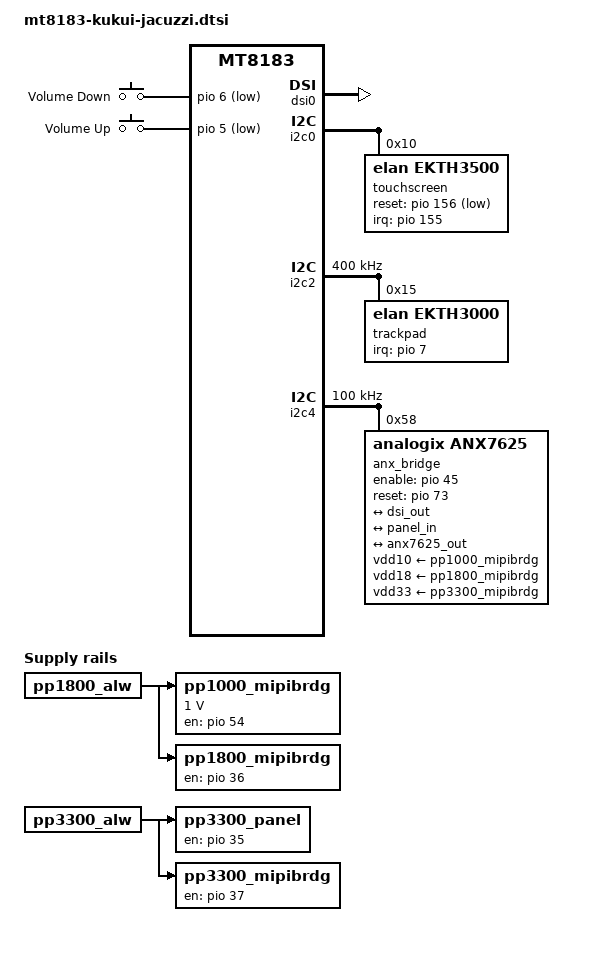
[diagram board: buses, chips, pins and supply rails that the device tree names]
// SPDX-License-Identifier: (GPL-2.0 OR MIT)
/*
 * Copyright 2021 Google LLC
 */

#include "mt8183-kukui.dtsi"
/* Must come after mt8183-kukui.dtsi to modify cros_ec */
#include <arm/cros-ec-keyboard.dtsi>

/ {
	pp1000_mipibrdg: pp1000-mipibrdg {
		compatible = "regulator-fixed";
		regulator-name = "pp1000_mipibrdg";
		regulator-min-microvolt = <1000000>;
		regulator-max-microvolt = <1000000>;
		pinctrl-names = "default";
		pinctrl-0 = <&pp1000_mipibrdg_en>;

		enable-active-high;
		regulator-boot-on;

		gpio = <&pio 54 GPIO_ACTIVE_HIGH>;
		vin-supply = <&pp1800_alw>;
	};

	pp1800_mipibrdg: pp1800-mipibrdg {
		compatible = "regulator-fixed";
		regulator-name = "pp1800_mipibrdg";
		pinctrl-names = "default";
		pinctrl-0 = <&pp1800_mipibrdg_en>;

		enable-active-high;
		regulator-boot-on;

		gpio = <&pio 36 GPIO_ACTIVE_HIGH>;
		vin-supply = <&pp1800_alw>;
	};

	pp3300_panel: pp3300-panel {
		compatible = "regulator-fixed";
		regulator-name = "pp3300_panel";
		pinctrl-names = "default";
		pinctrl-0 = <&pp3300_panel_pins>;

		enable-active-high;
		regulator-boot-on;

		gpio = <&pio 35 GPIO_ACTIVE_HIGH>;
		vin-supply = <&pp3300_alw>;
	};

	pp3300_mipibrdg: pp3300-mipibrdg {
		compatible = "regulator-fixed";
		regulator-name = "pp3300_mipibrdg";
		pinctrl-names = "default";
		pinctrl-0 = <&pp3300_mipibrdg_en>;

		enable-active-high;
		regulator-boot-on;

		gpio = <&pio 37 GPIO_ACTIVE_HIGH>;
		vin-supply = <&pp3300_alw>;
	};

	volume_buttons: volume-buttons {
		compatible = "gpio-keys";
		pinctrl-names = "default";
		pinctrl-0 = <&volume_button_pins>;

		button-volume-down {
			label = "Volume Down";
			linux,code = <KEY_VOLUMEDOWN>;
			debounce-interval = <100>;

			gpios = <&pio 6 GPIO_ACTIVE_LOW>;
		};

		button-volume-up {
			label = "Volume Up";
			linux,code = <KEY_VOLUMEUP>;
			debounce-interval = <100>;

			gpios = <&pio 5 GPIO_ACTIVE_LOW>;
		};
	};
};

&cros_ec {
	cros_ec_pwm: pwm {
		compatible = "google,cros-ec-pwm";
		#pwm-cells = <1>;
		status = "disabled";
	};
};

&dsi0 {
	status = "okay";
	/delete-node/panel@0;
};

&dsi_out {
	remote-endpoint = <&anx7625_in>;
};

&i2c0 {
	status = "okay";

	touchscreen: touchscreen@10 {
		compatible = "elan,ekth3500";
		reg = <0x10>;

		pinctrl-names = "default";
		pinctrl-0 = <&touchscreen_pins>;

		interrupts-extended = <&pio 155 IRQ_TYPE_LEVEL_LOW>;

		reset-gpios = <&pio 156 GPIO_ACTIVE_LOW>;
	};
};

&i2c2 {
	pinctrl-names = "default";
	pinctrl-0 = <&i2c2_pins>;
	status = "okay";
	clock-frequency = <400000>;

	trackpad@15 {
		compatible = "elan,ekth3000";
		reg = <0x15>;

		pinctrl-names = "default";
		pinctrl-0 = <&trackpad_pins>;

		interrupts-extended = <&pio 7 IRQ_TYPE_LEVEL_LOW>;

		wakeup-source;
	};
};

&i2c4 {
	pinctrl-names = "default";
	pinctrl-0 = <&i2c4_pins>;
	status = "okay";
	clock-frequency = <100000>;

	anx_bridge: anx7625@58 {
		compatible = "analogix,anx7625";
		reg = <0x58>;
		pinctrl-names = "default";
		pinctrl-0 = <&anx7625_pins>;
		enable-gpios = <&pio 45 GPIO_ACTIVE_HIGH>;
		reset-gpios = <&pio 73 GPIO_ACTIVE_HIGH>;
		vdd10-supply = <&pp1000_mipibrdg>;
		vdd18-supply = <&pp1800_mipibrdg>;
		vdd33-supply = <&pp3300_mipibrdg>;

		ports {
			#address-cells = <1>;
			#size-cells = <0>;

			port@0 {
				reg = <0>;

				anx7625_in: endpoint {
					remote-endpoint = <&dsi_out>;
				};
			};

			port@1 {
				reg = <1>;

				anx7625_out: endpoint {
					remote-endpoint = <&panel_in>;
				};
			};
		};

		aux-bus {
			panel: panel {
				compatible = "edp-panel";
				power-supply = <&pp3300_panel>;
				backlight = <&backlight_lcd0>;

				port {
					panel_in: endpoint {
						remote-endpoint = <&anx7625_out>;
					};
				};
			};
		};
	};
};

&i2c_tunnel {
	google,remote-bus = <2>;
};

&pio {
	/* 192 lines */
	gpio-line-names =
		"SPI_AP_EC_CS_L",
		"SPI_AP_EC_MOSI",
		"SPI_AP_EC_CLK",
		"I2S3_DO",
		"USB_PD_INT_ODL",
		"",
		"",
		"",
		"",
		"IT6505_HPD_L",
		"I2S3_TDM_D3",
		"SOC_I2C6_1V8_SCL",
		"SOC_I2C6_1V8_SDA",
		"DPI_D0",
		"DPI_D1",
		"DPI_D2",
		"DPI_D3",
		"DPI_D4",
		"DPI_D5",
		"DPI_D6",
		"DPI_D7",
		"DPI_D8",
		"DPI_D9",
		"DPI_D10",
		"DPI_D11",
		"DPI_HSYNC",
		"DPI_VSYNC",
		"DPI_DE",
		"DPI_CK",
		"AP_MSDC1_CLK",
		"AP_MSDC1_DAT3",
		"AP_MSDC1_CMD",
		"AP_MSDC1_DAT0",
		"AP_MSDC1_DAT2",
		"AP_MSDC1_DAT1",
		"",
		"",
		"",
		"",
		"",
		"",
		"OTG_EN",
		"DRVBUS",
		"DISP_PWM",
		"DSI_TE",
		"LCM_RST_1V8",
		"AP_CTS_WIFI_RTS",
		"AP_RTS_WIFI_CTS",
		"SOC_I2C5_1V8_SCL",
		"SOC_I2C5_1V8_SDA",
		"SOC_I2C3_1V8_SCL",
		"SOC_I2C3_1V8_SDA",
		"",
		"",
		"",
		"",
		"",
		"",
		"",
		"",
		"",
		"",
		"",
		"",
		"",
		"",
		"",
		"",
		"",
		"",
		"",
		"",
		"",
		"",
		"",
		"",
		"",
		"",
		"",
		"",
		"",
		"SOC_I2C1_1V8_SDA",
		"SOC_I2C0_1V8_SDA",
		"SOC_I2C0_1V8_SCL",
		"SOC_I2C1_1V8_SCL",
		"AP_SPI_H1_MISO",
		"AP_SPI_H1_CS_L",
		"AP_SPI_H1_MOSI",
		"AP_SPI_H1_CLK",
		"I2S5_BCK",
		"I2S5_LRCK",
		"I2S5_DO",
		"BOOTBLOCK_EN_L",
		"MT8183_KPCOL0",
		"SPI_AP_EC_MISO",
		"UART_DBG_TX_AP_RX",
		"UART_AP_TX_DBG_RX",
		"I2S2_MCK",
		"I2S2_BCK",
		"CLK_5M_WCAM",
		"CLK_2M_UCAM",
		"I2S2_LRCK",
		"I2S2_DI",
		"SOC_I2C2_1V8_SCL",
		"SOC_I2C2_1V8_SDA",
		"SOC_I2C4_1V8_SCL",
		"SOC_I2C4_1V8_SDA",
		"",
		"SCL8",
		"SDA8",
		"FCAM_PWDN_L",
		"",
		"",
		"",
		"",
		"",
		"",
		"",
		"",
		"",
		"",
		"",
		"",
		"",
		"",
		"",
		"",
		"",
		"",
		"",
		"",
		"",
		"",
		"",
		"",
		"",
		"I2S_PMIC",
		"I2S_PMIC",
		"I2S_PMIC",
		"I2S_PMIC",
		"I2S_PMIC",
		"I2S_PMIC",
		"I2S_PMIC",
		"I2S_PMIC",
		"",
		"",
		"",
		"",
		"",
		"",
		/*
		 * AP_FLASH_WP_L is crossystem ABI. Rev1 schematics
		 * call it BIOS_FLASH_WP_R_L.
		 */
		"AP_FLASH_WP_L",
		"EC_AP_INT_ODL",
		"IT6505_INT_ODL",
		"H1_INT_OD_L",
		"",
		"",
		"",
		"",
		"",
		"",
		"",
		"AP_SPI_FLASH_MISO",
		"AP_SPI_FLASH_CS_L",
		"AP_SPI_FLASH_MOSI",
		"AP_SPI_FLASH_CLK",
		"DA7219_IRQ",
		"",
		"",
		"",
		"",
		"",
		"",
		"",
		"",
		"",
		"",
		"",
		"",
		"",
		"",
		"",
		"",
		"",
		"",
		"",
		"",
		"",
		"",
		"",
		"",
		"",
		"";

	pp1000_mipibrdg_en: pp1000-mipibrdg-en {
		pins1 {
			pinmux = <PINMUX_GPIO54__FUNC_GPIO54>;
			output-low;
		};
	};

	pp1800_mipibrdg_en: pp1800-mipibrdg-en {
		pins1 {
			pinmux = <PINMUX_GPIO36__FUNC_GPIO36>;
			output-low;
		};
	};

	pp3300_panel_pins: pp3300-panel-pins {
		panel_3v3_enable: panel-3v3-enable {
			pinmux = <PINMUX_GPIO35__FUNC_GPIO35>;
			output-low;
		};
	};

	ppvarp_lcd_en: ppvarp-lcd-en {
		pins1 {
			pinmux = <PINMUX_GPIO66__FUNC_GPIO66>;
			output-low;
		};
	};

	ppvarn_lcd_en: ppvarn-lcd-en {
		pins1 {
			pinmux = <PINMUX_GPIO166__FUNC_GPIO166>;
			output-low;
		};
	};

	anx7625_pins: anx7625-pins {
		pins1 {
			pinmux = <PINMUX_GPIO45__FUNC_GPIO45>,
				 <PINMUX_GPIO73__FUNC_GPIO73>;
			output-low;
		};
		pins2 {
			pinmux = <PINMUX_GPIO4__FUNC_GPIO4>;
			input-enable;
			bias-pull-up;
		};
	};

	touchscreen_pins: touchscreen-pins {
		touch-int-odl {
			pinmux = <PINMUX_GPIO155__FUNC_GPIO155>;
			input-enable;
			bias-pull-up;
		};

		touch-rst-l {
			pinmux = <PINMUX_GPIO156__FUNC_GPIO156>;
			output-high;
		};
	};

	trackpad_pins: trackpad-pins {
		trackpad-int {
			pinmux = <PINMUX_GPIO7__FUNC_GPIO7>;
			input-enable;
			bias-disable; /* pulled externally */
		};
	};

	pp3300_mipibrdg_en: pp3300-mipibrdg-en {
		pins1 {
			pinmux = <PINMUX_GPIO37__FUNC_GPIO37>;
			output-low;
		};
	};

	volume_button_pins: volume-button-pins {
		voldn-btn-odl {
			pinmux = <PINMUX_GPIO6__FUNC_GPIO6>;
			input-enable;
			bias-pull-up;
		};

		volup-btn-odl {
			pinmux = <PINMUX_GPIO5__FUNC_GPIO5>;
			input-enable;
			bias-pull-up;
		};
	};
};

